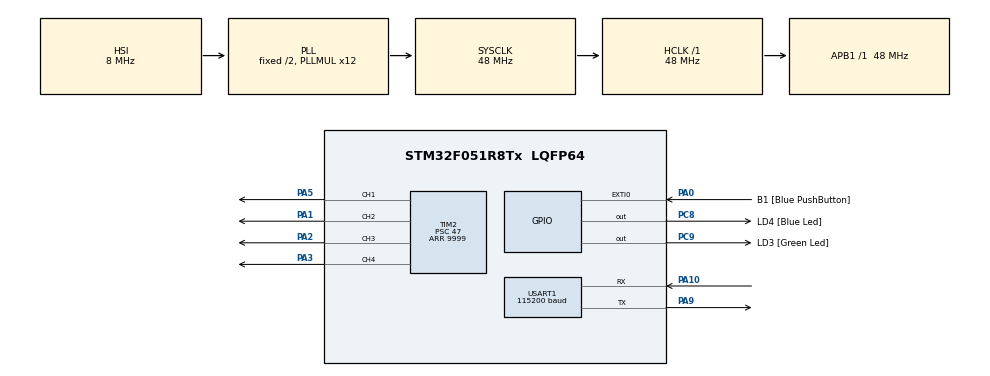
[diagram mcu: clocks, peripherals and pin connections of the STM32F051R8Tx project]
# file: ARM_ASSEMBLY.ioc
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Mcu.Family=STM32F0
Mcu.Name=STM32F051R8Tx
Mcu.Package=LQFP64
NVIC.TIM1_BRK_UP_TRG_COM_IRQn=true\:1\:0\:true\:false\:true\:true
NVIC.USART1_IRQn=true\:0\:0\:true\:false\:true\:true
PA0.GPIO_Label=B1 [Blue PushButton]
PA0.GPIO_ModeDefaultEXTI=GPIO_MODE_EVT_RISING
PA0.Signal=GPXTI0
PA1.Signal=S_TIM2_CH2
PA10.Mode=Asynchronous
PA10.Signal=USART1_RX
PA13.GPIO_Label=SWDIO
PA13.Signal=SYS_SWDIO
PA14.GPIO_Label=SWCLK
PA14.Signal=SYS_SWCLK
PA2.Signal=S_TIM2_CH3
PA3.Signal=S_TIM2_CH4
PA5.Signal=S_TIM2_CH1_ETR
PA9.Mode=Asynchronous
PA9.Signal=USART1_TX
PC8.GPIO_Label=LD4 [Blue Led]
PC8.Signal=GPIO_Output
PC9.GPIO_Label=LD3 [Green Led]
PC9.Signal=GPIO_Output
ProjectManager.HeapSize=0x200
ProjectManager.StackSize=0x400
ProjectManager.TargetToolchain=SW4STM32
RCC.AHBFreq_Value=48000000
RCC.APB1Freq_Value=48000000
RCC.APB1TimFreq_Value=48000000
RCC.HCLKFreq_Value=48000000
RCC.PLLMUL=RCC_PLL_MUL12
RCC.SYSCLKFreq_VALUE=48000000
RCC.SYSCLKSource=RCC_SYSCLKSOURCE_PLLCLK
SH.S_TIM2_CH1_ETR.0=TIM2_CH1,PWM Generation1 CH1
SH.S_TIM2_CH2.0=TIM2_CH2,PWM Generation2 CH2
SH.S_TIM2_CH3.0=TIM2_CH3,PWM Generation3 CH3
SH.S_TIM2_CH4.0=TIM2_CH4,PWM Generation4 CH4
TIM1.Period=49
TIM1.Prescaler=47999
TIM2.Channel-PWM\ Generation1\ CH1=TIM_CHANNEL_1
TIM2.Channel-PWM\ Generation2\ CH2=TIM_CHANNEL_2
TIM2.Channel-PWM\ Generation3\ CH3=TIM_CHANNEL_3
TIM2.Channel-PWM\ Generation4\ CH4=TIM_CHANNEL_4
TIM2.Period=9999
TIM2.Prescaler=47
USART1.BaudRate=115200
USART1.VirtualMode-Asynchronous=VM_ASYNC
VP_TIM1_VS_ClockSourceINT.Mode=Internal
VP_TIM2_VS_ClockSourceINT.Mode=Internal
board=STM32F0DISCOVERY

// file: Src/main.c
/**
  ******************************************************************************
  * @file           : main.c
  * @brief          : Main program body
  ******************************************************************************
  ** This notice applies to any and all portions of this file
  * that are not between comment pairs USER CODE BEGIN and
  * USER CODE END. Other portions of this file, whether
  * inserted by the user or by software development tools
  * are owned by their respective copyright owners.
  *
  * COPYRIGHT(c) 2018 STMicroelectronics
  *
  * Redistribution and use in source and binary forms, with or without modification,
  * are permitted provided that the following conditions are met:
  *   1. Redistributions of source code must retain the above copyright notice,
  *      this list of conditions and the following disclaimer.
  *   2. Redistributions in binary form must reproduce the above copyright notice,
  *      this list of conditions and the following disclaimer in the documentation
  *      and/or other materials provided with the distribution.
  *   3. Neither the name of STMicroelectronics nor the names of its contributors
  *      may be used to endorse or promote products derived from this software
  *      without specific prior written permission.
  *
  * THIS SOFTWARE IS PROVIDED BY THE COPYRIGHT HOLDERS AND CONTRIBUTORS "AS IS"
  * AND ANY EXPRESS OR IMPLIED WARRANTIES, INCLUDING, BUT NOT LIMITED TO, THE
  * IMPLIED WARRANTIES OF MERCHANTABILITY AND FITNESS FOR A PARTICULAR PURPOSE ARE
  * DISCLAIMED. IN NO EVENT SHALL THE COPYRIGHT HOLDER OR CONTRIBUTORS BE LIABLE
  * FOR ANY DIRECT, INDIRECT, INCIDENTAL, SPECIAL, EXEMPLARY, OR CONSEQUENTIAL
  * DAMAGES (INCLUDING, BUT NOT LIMITED TO, PROCUREMENT OF SUBSTITUTE GOODS OR
  * SERVICES; LOSS OF USE, DATA, OR PROFITS; OR BUSINESS INTERRUPTION) HOWEVER
  * CAUSED AND ON ANY THEORY OF LIABILITY, WHETHER IN CONTRACT, STRICT LIABILITY,
  * OR TORT (INCLUDING NEGLIGENCE OR OTHERWISE) ARISING IN ANY WAY OUT OF THE USE
  * OF THIS SOFTWARE, EVEN IF ADVISED OF THE POSSIBILITY OF SUCH DAMAGE.
  *
  ******************************************************************************
  */
#include "main.h"
#include "stm32f0xx_hal.h"
#include "tim.h"
#include "usart.h"
#include "gpio.h"

/* USER CODE BEGIN Includes */
#include "dic.h"
#include <stdbool.h>
#include <string.h>
#include <stdlib.h>
#define LCD_DELAY 1

/* USER CODE END Includes */

/* USER CODE BEGIN PV */
/* Private variables ---------------------------------------------------------*/
struct gpioPin data595 = {'B', 11};
struct gpioPin clock595 = {'B', 10};
struct gpioPin latch595 = {'B', 2};
struct gpioPin lcdRegSel = {'B', 1};
struct gpioPin lcdEn = {'C', 5};
struct gpioPin lcdRw = {'B', 0};

uint8_t mpuData[66] = {0};
int flag1 = 0;
int flag2 = 0;
int flag3 = 0;
int valy = 1500;
int valL, valR, valC;
int clawState = -1;
volatile float Ax, Ay, Az;
volatile float accZ, laccZ;
volatile float lAz = 0;
volatile int tempFlag = 0;
int maxValL, minValL;
int maxValR, minValR;
int maxValC, minValC;
int maxValB, minValB;
int perR, perL, perB, perC;
int msCount = 0;
/* USER CODE END PV */

void SystemClock_Config(void);

/* USER CODE BEGIN PFP */
/* Private function prototypes -----------------------------------------------*/
void HAL_UART_RxCpltCallback(UART_HandleTypeDef* huart);

void lcdFreshString(char* val, uint8_t line);
void lcdWriteChar(uint8_t val);
void lcdClear();
void lcdSetup();
void lcdCommand(uint8_t comm);
void shiftIn(struct gpioPin data, struct gpioPin clock, struct gpioPin latch, uint8_t val);
void pinWrite(struct gpioPin target, bool val);
void lcdFullDisplay(char* val1, char* val2);
void showMotorStatus();

/* USER CODE END PFP */

int main(void)
{
  /* USER CODE BEGIN 1 */
    minValC = 900;
    maxValC = 1300;
    minValB = 600;
    maxValB = 2300;
    minValL = 1320;
    maxValL = 1380;
    minValR = 1000;
    maxValR = 2300;

  /* USER CODE END 1 */

  /* MCU Configuration----------------------------------------------------------*/

  /* Reset of all peripherals, Initializes the Flash interface and the Systick. */
  HAL_Init();

  /* Configure the system clock */
  SystemClock_Config();

  /* Initialize all configured peripherals */
  MX_GPIO_Init();
  MX_USART1_UART_Init();
  MX_TIM2_Init();
  MX_TIM1_Init();
  lcdSetup();
  lcdFullDisplay("ARM ASSEMBLY", "L: XX% R: XX% B: XX%");
  /* USER CODE BEGIN 2 */
  HAL_TIM_Base_Start_IT(&htim1);
  HAL_TIM_PWM_Start(&htim2, TIM_CHANNEL_1);
  HAL_TIM_PWM_Start(&htim2, TIM_CHANNEL_2);
  HAL_TIM_PWM_Start(&htim2, TIM_CHANNEL_3);
  HAL_TIM_PWM_Start(&htim2, TIM_CHANNEL_4);
  __HAL_TIM_SET_COMPARE(&htim2, TIM_CHANNEL_1, 1500); //Bottom motor (controls arm L/R rotate) (600-2400)
  __HAL_TIM_SET_COMPARE(&htim2, TIM_CHANNEL_2, 1000); //right motor (controls reach?) (1000-2000)
  __HAL_TIM_SET_COMPARE(&htim2, TIM_CHANNEL_3, 1320); //left motor (controls reach?) (1000-2000) //1300 central
  __HAL_TIM_SET_COMPARE(&htim2, TIM_CHANNEL_4, 1300); //claw motor (900 is closed, 1300 is open)
  valL = 1320;
  valR = 1300;
  valC = 1300;
  showMotorStatus();
  //full extension (left: 1400, right: 2300)
  //middle max height (left: 1300, right: 1000)

  /* USER CODE END 2 */

  /* Infinite loop */
  /* USER CODE BEGIN WHILE */
  while (1)
  {
      HAL_UART_Receive_IT(&huart1, mpuData, 66);

  /* USER CODE END WHILE */

  }

}

void SystemClock_Config(void)
{

  RCC_OscInitTypeDef RCC_OscInitStruct;
  RCC_ClkInitTypeDef RCC_ClkInitStruct;
  RCC_PeriphCLKInitTypeDef PeriphClkInit;

    /**Initializes the CPU, AHB and APB busses clocks
    */
  RCC_OscInitStruct.OscillatorType = RCC_OSCILLATORTYPE_HSI;
  RCC_OscInitStruct.HSIState = RCC_HSI_ON;
  RCC_OscInitStruct.HSICalibrationValue = 16;
  RCC_OscInitStruct.PLL.PLLState = RCC_PLL_ON;
  RCC_OscInitStruct.PLL.PLLSource = RCC_PLLSOURCE_HSI;
  RCC_OscInitStruct.PLL.PLLMUL = RCC_PLL_MUL12;
  RCC_OscInitStruct.PLL.PREDIV = RCC_PREDIV_DIV1;
  if (HAL_RCC_OscConfig(&RCC_OscInitStruct) != HAL_OK)
  {
    _Error_Handler(__FILE__, __LINE__);
  }

    /**Initializes the CPU, AHB and APB busses clocks
    */
  RCC_ClkInitStruct.ClockType = RCC_CLOCKTYPE_HCLK|RCC_CLOCKTYPE_SYSCLK
                              |RCC_CLOCKTYPE_PCLK1;
  RCC_ClkInitStruct.SYSCLKSource = RCC_SYSCLKSOURCE_PLLCLK;
  RCC_ClkInitStruct.AHBCLKDivider = RCC_SYSCLK_DIV1;
  RCC_ClkInitStruct.APB1CLKDivider = RCC_HCLK_DIV1;

  if (HAL_RCC_ClockConfig(&RCC_ClkInitStruct, FLASH_LATENCY_1) != HAL_OK)
  {
    _Error_Handler(__FILE__, __LINE__);
  }

  PeriphClkInit.PeriphClockSelection = RCC_PERIPHCLK_USART1;
  PeriphClkInit.Usart1ClockSelection = RCC_USART1CLKSOURCE_PCLK1;
  if (HAL_RCCEx_PeriphCLKConfig(&PeriphClkInit) != HAL_OK)
  {
    _Error_Handler(__FILE__, __LINE__);
  }

    /**Configure the Systick interrupt time
    */
  HAL_SYSTICK_Config(HAL_RCC_GetHCLKFreq()/1000);

    /**Configure the Systick
    */
  HAL_SYSTICK_CLKSourceConfig(SYSTICK_CLKSOURCE_HCLK);

  /* SysTick_IRQn interrupt configuration */
  HAL_NVIC_SetPriority(SysTick_IRQn, 0, 0);
}

/* USER CODE BEGIN 4 */
void showMotorStatus()
{
    char line1[16];
    char line2[16];
    perC = 100.0 * (valC - minValC) / (maxValC - minValC);
    perB = 100.0 * (valy - minValB) / (maxValB - minValB);
    perL = 100.0 * (valL - minValL) / (maxValL - minValL);
    perR = 100.0 * (valR - minValR) / (maxValR - minValR);
    sprintf(line1, "L %03d %% R %03d %%", perL, perR);
    sprintf(line2, "B %03d %% C %03d %%", perB, perC);
    lcdFullDisplay(line1, line2);
}

void myTIM1IRQ()
{
    if(Ax > 50 && Ax < 300){
           flag1 = -1;
           HAL_GPIO_WritePin(GPIOC, GPIO_PIN_8, GPIO_PIN_SET);
           HAL_GPIO_WritePin(GPIOC, GPIO_PIN_9, GPIO_PIN_RESET);
    }

       else if(Ax < -50 && Ax > -300){
           flag1 = 1;
       HAL_GPIO_WritePin(GPIOC, GPIO_PIN_8, GPIO_PIN_RESET);
       HAL_GPIO_WritePin(GPIOC, GPIO_PIN_9, GPIO_PIN_SET);}
       else{
           flag1 = 0;
       HAL_GPIO_WritePin(GPIOC, GPIO_PIN_8, GPIO_PIN_RESET);
       HAL_GPIO_WritePin(GPIOC, GPIO_PIN_9, GPIO_PIN_RESET);
    }
    if(Ay > 50 && Ay < 300)
    {
        flag2 = 1;
    }
    else if(Ay < -50 && Ay > -300)
    {
        flag2 = -1;
    }
    else
    {
        flag2 = 0;
    }

    // state machine CLAW
    if(tempFlag == 2)
    {
        if(valC == 1300)
            valC = 900;
        else if(valC == 900)
            valC = 1300;
        tempFlag = 0;
    }
    __HAL_TIM_SET_COMPARE(&htim2,TIM_CHANNEL_4, valC);

    if (flag1 == 1){
        valy+=50;
        if(valy>=2300){
            valy=2300;
        }
        __HAL_TIM_SET_COMPARE(&htim2,TIM_CHANNEL_1,valy);
    }
    else if (flag1 == -1){
         valy-=50;
         if(valy<=600){
             valy=600;
         }
         __HAL_TIM_SET_COMPARE(&htim2,TIM_CHANNEL_1,valy);
    }
    //full extension (left: 1400, right: 2300)
    //middle max height (left: 1300, right: 1000)
    if (flag2 == 1){
        valL -= 10;
        valR -= 130;
        if(valL <= 1320)
            valL = 1320;
        if(valR <= 1000)
            valR = 1000;

        __HAL_TIM_SET_COMPARE(&htim2,TIM_CHANNEL_2,valR);
        __HAL_TIM_SET_COMPARE(&htim2,TIM_CHANNEL_3,valL);
    }
    else if (flag2 == -1){
        valL += 10;
        valR += 130;
        if(valL >= 1380)
            valL = 1380;
        if(valR >= 2300)
            valR = 2300;
        __HAL_TIM_SET_COMPARE(&htim2,TIM_CHANNEL_2,valR);
        __HAL_TIM_SET_COMPARE(&htim2,TIM_CHANNEL_3,valL);
    }
    msCount += 50;
    if(msCount == 300)
    {
        showMotorStatus();
        msCount = 0;
    }

}
void HAL_UART_RxCpltCallback(UART_HandleTypeDef* huart)
{
    for(int i=0; i<65;i++){
        if(mpuData[i] == 0x55 && mpuData[i+1]==0x52 && (i+7 <=65)){
            Ax = ((short)(mpuData[i+3]<<8 | mpuData[i+2]))/32768.0*2000;
            Ay = ((short)(mpuData[i+5]<<8 | mpuData[i+4]))/32768.0*2000;
            Az = ((short)(mpuData[i+7]<<8 | mpuData[i+6]))/32768.0*2000;
        }
        if(mpuData[i] == 0x55 && mpuData[i+1] == 0x51 && (i + 7) <= 65)
        {
            accZ = ((short)(mpuData[i+7] << 8 | mpuData[i+6]))/32768.0*16;
        }
        if(accZ > 0.5 && tempFlag == 0)
        {
            tempFlag = 1;
        }
        if(accZ < -0.5 && tempFlag == 1)
        {
            tempFlag = 2;
        }

    }

    return;
}

void lcdFullDisplay(char* val1, char* val2)
{
    char* lol = val1;
    lcdClear();
    while(*lol)
    {
        lcdWriteChar(*lol);
        lol++;
    }
    pinWrite(lcdRegSel, false);
    pinWrite(lcdRw, false);
    lcdCommand(0xC0);
    lol = val2;
    while(*lol)
    {
        lcdWriteChar(*lol);
        lol++;
    }
}

// Prints given string on particular line of the
// LCD display
void lcdFreshString(char* val, uint8_t line)
{
    char* lol = val;
    lcdClear();
    if(line == 1)
    {
        while(*lol != 0)// && *lol != '\n' && *lol != '\r')
        {
            lcdWriteChar(*lol);
            lol++;
        }
    }
    else
    {
        pinWrite(lcdRegSel, false);
        pinWrite(lcdRw, false);
        lcdCommand(0xC0);
        while(*lol)
        {
            lcdWriteChar(*lol);
            lol++;
        }
    }
}

// Writes a particular character to the LCD and advances the cursor
void lcdWriteChar(uint8_t val)
{
    pinWrite(lcdRw, false);
    pinWrite(lcdRegSel, true);
    lcdCommand(val);
}

// Clears the LCD and moves cursor to the beginning
void lcdClear()
{
    pinWrite(lcdRw, false);
    pinWrite(lcdRegSel, false);
    lcdCommand(0x01);
    pinWrite(lcdEn, true);
    pinWrite(lcdEn, false);
    //HAL_Delay(LCD_DELAY);
}

// Initialises the LCD in 8-bit mode
void lcdSetup()
{
    HAL_Delay(LCD_DELAY * 8);
    pinWrite(lcdRegSel, false); // command mode enabled
    pinWrite(lcdRw, false); //write mode
    lcdCommand(0x38); //send function set
    lcdCommand(0x0C); //cursor off, display on
    lcdCommand(0x01); //clear
    lcdCommand(0x06);
    HAL_Delay(LCD_DELAY);

}

// Give a command to the LCD to execute
void lcdCommand(uint8_t comm)
{
    pinWrite(lcdEn, false);
    shiftIn(data595, clock595, latch595, comm);
    pinWrite(lcdEn, true);
    HAL_Delay(LCD_DELAY);
    pinWrite(lcdEn, false);
   // HAL_Delay(LCD_DELAY);
}

// HC595 shift register instruction
void shiftIn(struct gpioPin data, struct gpioPin clock, struct gpioPin latch, uint8_t val)
{
    char x = 0;
    pinWrite(clock, false);
    pinWrite(latch, false);
    for(int i = 0; i < 8; ++i)
    {
        x = val & 0x80;
        if (x)
        {
            pinWrite(data, true);
        }
        else
        {
            pinWrite(data, false);
        }
        pinWrite(clock, true);
        pinWrite(clock, false);
        val = val << 1;
    }
    pinWrite(latch, true);
    pinWrite(latch, false);
}

// Write a value to the given pin
void pinWrite(struct gpioPin target, bool val)
{
    if(val == true)
    {
        HAL_GPIO_WritePin(gpioDecode(target.gpio), pinDecode(target.pin), GPIO_PIN_SET);
    }
    else
    {
        HAL_GPIO_WritePin(gpioDecode(target.gpio), pinDecode(target.pin), GPIO_PIN_RESET);
    }
}

/* USER CODE END 4 */

void _Error_Handler(char *file, int line)
{
  while(1)
  {
  }
}

/************************ (C) COPYRIGHT STMicroelectronics *****END OF FILE****/
